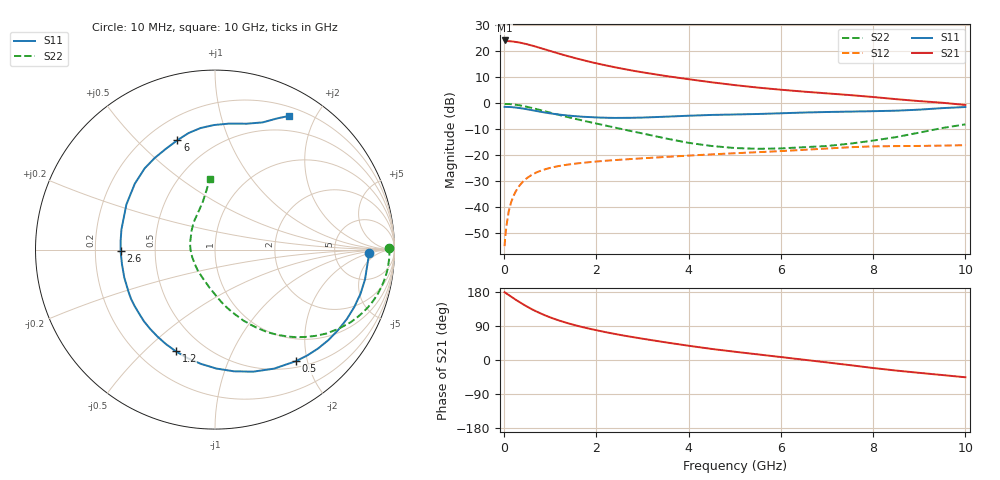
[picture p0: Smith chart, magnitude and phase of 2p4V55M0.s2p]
! (c) 2009  Infineon Technologies AG, Munich
! Infineon Technologies  Discrete & RF Semiconductors
! BFP420
! VCE =  4.5 V,  IC =  5.0 mA
! Common Emitter S-Parameters:  Nov 2009
# GHz  S  MA  R  50
!  f  S11  S21  S12  S22
! GHz  MAG  ANG  MAG  ANG  MAG  ANG  MAG  ANG
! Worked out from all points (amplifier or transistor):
!   46 points, 10 MHz to 10 GHz, reference 50 ohm
!   highest |S21| = 24.2 dB at 10 MHz (marker M1)
!   |S21| within 3 dB of that: start of sweep to 803.1 MHz
!   unconditionally stable (mu >= 1): start of sweep to 12.43 MHz; 3.035 GHz to end of sweep
!   at 300 MHz: K = 0.17, MSG = 27.9 dB, |S12| = -32.4 dB
!   at 1.7 GHz: K = 0.59, MSG = 19.8 dB, |S12| = -22.9 dB
!   at 10 GHz: K = 1.13, MAG = 5.6 dB, |S12| = -16.1 dB
!   lowest NFmin = 0.66 dB at 900 MHz
!   S11 on the Smith chart (normalised r, x): 10 MHz: 13, -2; 500 MHz: 0.60, -1.81; 1.2 GHz: 0.35, -0.63; 2.6 GHz: 0.31, -0.01; 6 GHz: 0.32, +0.66; 10 GHz: 0.31, +1.65
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0.01  0.8558 -1.4  16.16 178.9  0.0018 19.5  0.9687 0.4
0.02  0.8574 -2.2  15.7 178.1  0.0025 41.9  0.9718 -1.1
0.1  0.8521 -11.3  15.68 171.4  0.0085 72.3  0.9686 -6.1
0.15  0.8473 -16.8  15.55 167.3  0.0125 73.3  0.9619 -9.1
0.25  0.8302 -27.8  15.12 159.1  0.0202 70.9  0.9409 -15.0
0.4  0.7959 -43.8  14.31 147.8  0.0308 65.0  0.8938 -23.2
0.5  0.768 -54.0  13.63 140.7  0.0369 60.9  0.8561 -28.3
0.6  0.7405 -63.6  12.93 134.0  0.0423 56.9  0.8164 -32.8
0.8  0.6861 -81.2  11.46 122.4  0.051 50.3  0.7363 -40.8
1  0.6416 -97.0  10.14 112.4  0.0576 45.0  0.6618 -47.5
1.2  0.6074 -111.0  8.978 103.8  0.0627 40.8  0.5962 -53.1
1.4  0.5809 -123.5  7.994 96.4  0.0668 37.5  0.5394 -58.0
1.7  0.5528 -140.0  6.813 86.8  0.0719 33.6  0.4676 -64.2
2.2  0.5289 -162.9  5.376 73.5  0.0789 29.0  0.3744 -73.2
2.6  0.5262 -179.0  4.566 64.3  0.0834 26.0  0.3134 -80.5
3.5  0.554 153.0  3.359 46.6  0.0933 21.1  0.212 -98.8
4.5  0.5989 130.8  2.538 29.2  0.1046 15.9  0.1514 -129.0
5.5  0.6246 116.0  2.009 14.8  0.1152 10.9  0.1337 -161.7
6  0.6443 109.0  1.828 7.8  0.1209 8.6  0.1361 -179.0
7  0.682 96.8  1.554 -6.4  0.1356 2.6  0.1515 153.0
8.5  0.7228 76.0  1.203 -27.9  0.1508 -10.8  0.2247 115.2
10  0.8502 61.1  0.931 -45.6  0.1572 -19.7  0.3945 94.3
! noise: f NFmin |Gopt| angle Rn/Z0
0.9  0.66  0.21  31  0.15
1.8  1.05  0.09  93  0.13
2.4  1.14  0.14  119  0.13
3  1.24  0.17  165  0.11
4  1.41  0.31  -145  0.12
5  1.85  0.38  -119  0.21
6  2.3  0.45  -101  0.36
